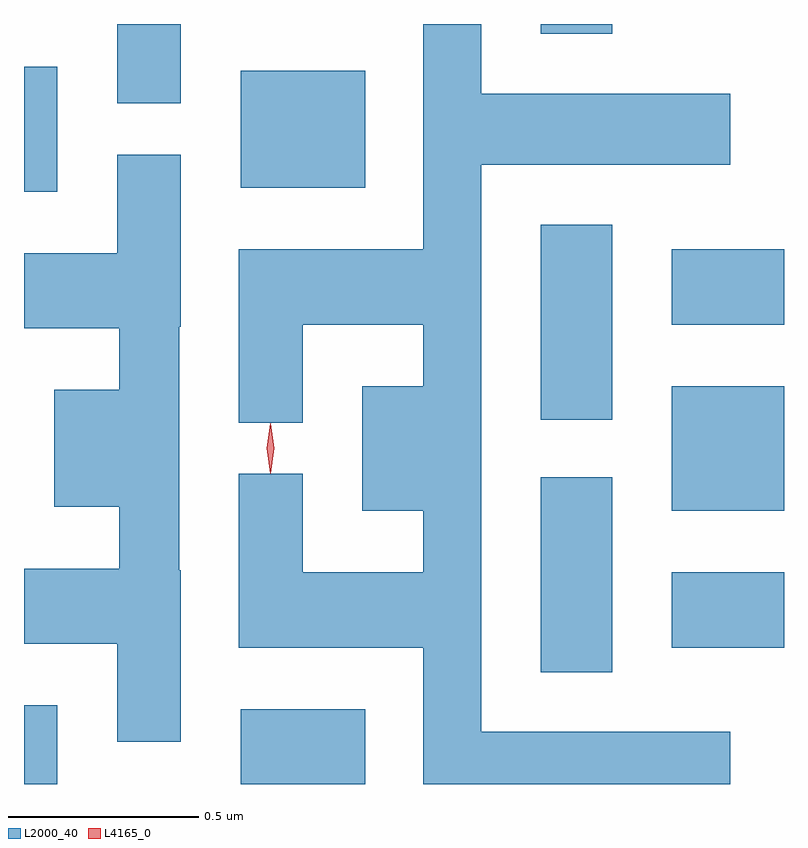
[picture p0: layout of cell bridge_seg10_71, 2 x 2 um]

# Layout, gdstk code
import gdstk
lib = gdstk.Library(unit=1e-6, precision=1e-09)
def R(c, l, rs):  # rectangles x0, y0, x1, y1
    for r in rs: c.add(gdstk.rectangle(r[:2], r[2:], *l))
def P(c, l, *ps):  # polygons
    for p in ps: c.add(gdstk.Polygon(p, *l))
L2000_40 = (2000, 40)
L4165_0 = (4165, 0)

bridge_seg10_71 = lib.new_cell('bridge_seg10_71')
R(bridge_seg10_71, L2000_40, [(1624.356,2175.007,1624.444,2175.214), (1624.926,2175.007,1625.254,2175.204), (1625.716,2175.301,1625.904,2175.814), (1626.061,2175.366,1626.356,2175.564), (1626.061,2175.726,1626.356,2176.054), (1625.716,2175.966,1625.904,2176.479), (1626.061,2176.216,1626.356,2176.414), (1624.356,2176.566,1624.444,2176.894), (1624.926,2176.576,1625.254,2176.884), (1624.601,2176.798,1624.769,2177.007), (1625.716,2176.981,1625.904,2177.007)])
P(bridge_seg10_71, L2000_40, [(1626.214,2175.144),(1625.559,2175.144),(1625.559,2176.636),(1626.214,2176.636),(1626.214,2176.824),(1625.559,2176.824),(1625.559,2177.007),(1625.406,2177.007),(1625.406,2176.414),(1624.921,2176.414),(1624.921,2175.958),(1625.089,2175.958),(1625.089,2176.216),(1625.406,2176.216),(1625.406,2176.054),(1625.246,2176.054),(1625.246,2175.726),(1625.406,2175.726),(1625.406,2175.564),(1625.089,2175.564),(1625.089,2175.823),(1624.921,2175.823),(1624.921,2175.366),(1625.406,2175.366),(1625.406,2175.007),(1626.214,2175.007)],
  [(1624.769,2175.57),(1624.764,2175.57),(1624.764,2176.21),(1624.769,2176.21),(1624.769,2176.663),(1624.601,2176.663),(1624.601,2176.404),(1624.356,2176.404),(1624.356,2176.206),(1624.606,2176.206),(1624.606,2176.044),(1624.436,2176.044),(1624.436,2175.736),(1624.606,2175.736),(1624.606,2175.574),(1624.356,2175.574),(1624.356,2175.376),(1624.601,2175.376),(1624.601,2175.118),(1624.769,2175.118)])
P(bridge_seg10_71, L4165_0, [(1625.005,2175.824),(1625.004,2175.825),(1624.995,2175.89),(1625.004,2175.955),(1625.005,2175.956),(1625.005,2175.955),(1625.015,2175.89),(1625.005,2175.825)])

lib.write_gds('bridge_seg10_71.gds')
